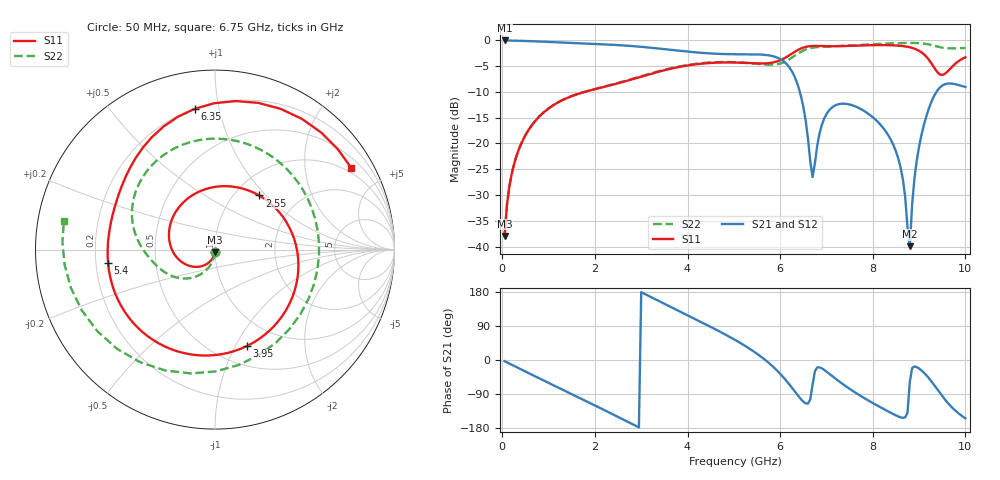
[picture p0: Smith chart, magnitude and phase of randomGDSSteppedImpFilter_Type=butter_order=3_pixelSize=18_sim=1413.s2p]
! freq	dB(S11)	phase(S11)	dB(S12)	phase(S12)
!  dB(S21)	phase(S21)	dB(S22)	phase(S22)
!S-par simulation data
#  GHz  S  DB  R 50
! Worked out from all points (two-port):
!   200 points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, 50 MHz to 10 GHz, reference 50 ohm
!   highest |S21| = -0.01 dB at 50 MHz (marker M1); lowest = -39.9 dB at 8.8 GHz (marker M2)
!   |S21| within 3 dB of the highest: start of sweep to 5.816 GHz
!   lowest |S11| = -38.0 dB at 50 MHz (marker M3), VSWR 1.03, Z = 49.9 - j1.26 ohm
!   |S11| at or under -10 dB: start of sweep to 1.778 GHz
!   |S22| runs from -37.9 to -0.5 dB; largest |S21 - S12| = 0
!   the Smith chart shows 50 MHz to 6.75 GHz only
!   S11 on the Smith chart (normalised r, x): 50 MHz: 1.00, -0.03; 2.55 GHz: 1.29, +0.92; 3.95 GHz: 0.70, -1.11; 5.4 GHz: 0.25, -0.06; 6.35 GHz: 0.20, +0.85; 6.75 GHz: 0.81, +3.42
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0.05  -37.98 -93.5  -0.01 -3.1  -0.01 -3.1  -37.94 -91.8
0.5  -18.40 -129.4  -0.11 -30.5  -0.11 -30.5  -18.37 -112.5
1.75  -10.07 127.0  -0.58 -104.9  -0.58 -104.9  -10.03 -158.1
2.55  -8.19 50.7  -0.93 -153.2  -0.93 -153.2  -8.11 -178.4
3.4  -6.02 -28.0  -1.60 154.4  -1.60 154.4  -5.91 156.1
3.95  -4.94 -71.9  -2.13 121.0  -2.13 121.0  -4.83 133.5
5.05  -4.30 -148.7  -2.68 51.3  -2.68 51.3  -4.23 72.3
5.4  -4.43 -172.9  -2.70 24.9  -2.70 24.9  -4.46 43.8
5.95  -4.02 145.5  -3.38 -29.9  -3.38 -29.9  -4.60 -27.8
6.35  -2.02 98.2  -7.87 -88.4  -7.87 -88.4  -2.75 -112.4
6.7  -1.07 39.4  -26.52 -65.2  -26.52 -65.2  -1.40 177.1
6.75  -1.06 31.1  -23.85 -29.7  -23.85 -29.7  -1.34 169.1
7  -1.11 -7.0  -14.30 -30.6  -14.30 -30.6  -1.20 136.5
7.5  -1.06 -66.8  -12.43 -76.2  -12.43 -76.2  -0.99 93.1
8.35  -0.92 -141.8  -18.63 -136.9  -18.63 -136.9  -0.59 42.5
8.65  -1.10 -169.5  -26.96 -152.8  -26.96 -152.8  -0.50 27.2
8.8  -1.33 173.9  -39.93 -57.6  -39.93 -57.6  -0.48 19.7
8.95  -1.78 153.6  -23.31 -18.8  -23.31 -18.8  -0.51 12.2
9.2  -3.62 103.7  -13.50 -46.3  -13.50 -46.3  -0.75 -0.2
9.45  -6.60 16.0  -9.14 -86.8  -9.14 -86.8  -1.31 -9.9
9.7  -5.23 -70.9  -8.37 -123.8  -8.37 -123.8  -1.55 -16.5
10  -3.28 -123.0  -9.02 -154.0  -9.02 -154.0  -1.47 -25.3
